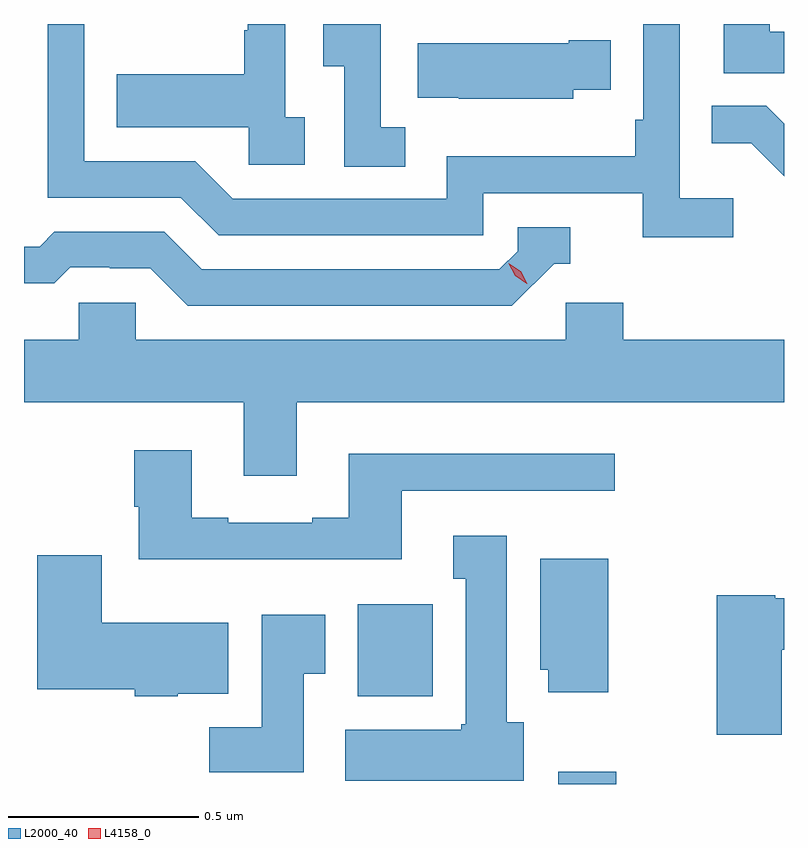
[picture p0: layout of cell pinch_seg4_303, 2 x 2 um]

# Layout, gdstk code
import gdstk
lib = gdstk.Library(unit=1e-6, precision=1e-09)
def R(c, l, rs):  # rectangles x0, y0, x1, y1
    for r in rs: c.add(gdstk.rectangle(r[:2], r[2:], *l))
def P(c, l, *ps):  # polygons
    for p in ps: c.add(gdstk.Polygon(p, *l))
L2000_40 = (2000, 40)
L4158_0 = (4158, 0)

pinch_seg4_303 = lib.new_cell('pinch_seg4_303')
R(pinch_seg4_303, L2000_40, [(938.597,790.487,938.75,790.519), (938.069,790.718,938.266,790.96)])
P(pinch_seg4_303, L2000_40, [(939.191,792.466),(939.154,792.466),(939.154,792.487),(939.032,792.487),(939.032,792.357),(939.191,792.357)],
  [(937.93,792.242),(937.878,792.242),(937.878,792.487),(937.78,792.487),(937.78,792.47),(937.77,792.47),(937.77,792.355),(937.435,792.355),(937.435,792.215),(937.782,792.215),(937.782,792.117),(937.93,792.117)],
  [(938.194,792.215),(938.13,792.215),(938.13,792.487),(937.979,792.487),(937.979,792.376),(938.034,792.376),(938.034,792.112),(938.194,792.112)],
  [(939.058,792.028),(938.916,792.028),(938.916,792.487),(938.82,792.487),(938.82,792.235),(938.8,792.235),(938.8,792.139),(938.304,792.139),(938.304,792.027),(937.74,792.027),(937.641,792.126),(937.35,792.126),(937.35,792.487),(937.254,792.487),(937.254,792.03),(937.604,792.03),(937.703,791.931),(938.4,791.931),(938.4,792.042),(938.819,792.042),(938.819,791.926),(939.058,791.926)],
  [(938.637,792.314),(938.735,792.314),(938.735,792.444),(938.624,792.444),(938.624,792.436),(938.227,792.436),(938.227,792.293),(938.335,792.293),(938.335,792.29),(938.637,792.29)],
  [(939.191,792.225),(939.144,792.272),(939.001,792.272),(939.001,792.173),(939.105,792.173),(939.191,792.087)],
  [(938.586,791.856),(938.629,791.856),(938.629,791.952),(938.49,791.952),(938.49,791.889),(938.442,791.841),(937.659,791.841),(937.56,791.94),(937.271,791.94),(937.232,791.901),(937.191,791.901),(937.191,791.805),(937.271,791.805),(937.313,791.847),(937.416,791.847),(937.416,791.844),(937.523,791.844),(937.622,791.745),(938.475,791.745)],
  [(937.909,791.492),(939.191,791.492),(939.191,791.656),(938.768,791.656),(938.768,791.754),(938.616,791.754),(938.616,791.656),(937.485,791.656),(937.485,791.754),(937.335,791.754),(937.335,791.656),(937.191,791.656),(937.191,791.492),(937.769,791.492),(937.769,791.298),(937.909,791.298)],
  [(938.185,791.259),(938.746,791.259),(938.746,791.356),(938.045,791.356),(938.045,791.188),(937.949,791.188),(937.949,791.175),(937.729,791.175),(937.729,791.188),(937.633,791.188),(937.633,791.365),(937.481,791.365),(937.481,791.217),(937.493,791.217),(937.493,791.078),(938.185,791.078)],
  [(938.506,790.65),(938.461,790.65),(938.461,791.14),(938.321,791.14),(938.321,791.027),(938.354,791.027),(938.354,790.644),(938.341,790.644),(938.341,790.63),(938.037,790.63),(938.037,790.496),(938.506,790.496)],
  [(937.596,790.724),(937.729,790.724),(937.729,790.912),(937.396,790.912),(937.396,791.089),(937.226,791.089),(937.226,790.736),(937.482,790.736),(937.482,790.718),(937.596,790.718)],
  [(938.728,791.08),(938.549,791.08),(938.549,790.788),(938.57,790.788),(938.57,790.728),(938.728,790.728)],
  [(939.185,790.84),(939.191,790.84),(939.191,790.976),(939.168,790.976),(939.168,790.984),(939.014,790.984),(939.014,790.617),(939.185,790.617)],
  [(937.927,790.777),(937.984,790.777),(937.984,790.933),(937.817,790.933),(937.817,790.636),(937.678,790.636),(937.678,790.518),(937.927,790.518)])
P(pinch_seg4_303, L4158_0, [(938.514,791.804),(938.484,791.824),(938.467,791.856),(938.467,791.857),(938.467,791.857),(938.498,791.837),(938.515,791.804),(938.515,791.804)])

lib.write_gds('pinch_seg4_303.gds')
